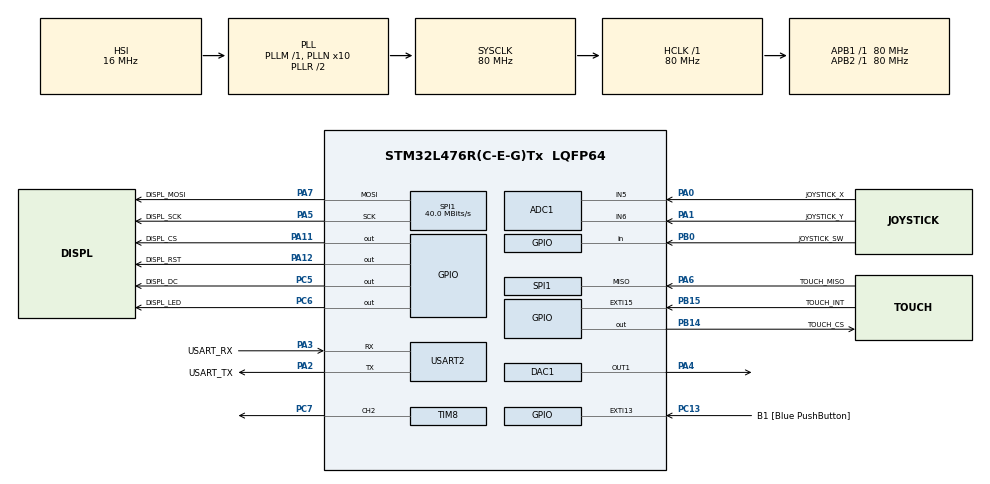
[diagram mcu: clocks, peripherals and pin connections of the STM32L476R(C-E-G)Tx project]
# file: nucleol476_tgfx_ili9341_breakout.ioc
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ADC1.Channel-4\#ChannelRegularConversion=ADC_CHANNEL_5
ADC1.Channel-5\#ChannelRegularConversion=ADC_CHANNEL_6
ADC1.ContinuousConvMode=DISABLE
ADC1.DMAContinuousRequests=DISABLE
ADC1.EOCSelection=ADC_EOC_SINGLE_CONV
ADC1.NbrOfConversion=2
ADC1.NbrOfConversionFlag=1
ADC1.OffsetNumber-4\#ChannelRegularConversion=ADC_OFFSET_NONE
ADC1.OffsetNumber-5\#ChannelRegularConversion=ADC_OFFSET_NONE
ADC1.Rank-4\#ChannelRegularConversion=1
ADC1.Rank-5\#ChannelRegularConversion=2
ADC1.SamplingTime-4\#ChannelRegularConversion=ADC_SAMPLETIME_640CYCLES_5
ADC1.SamplingTime-5\#ChannelRegularConversion=ADC_SAMPLETIME_640CYCLES_5
ADC1.master=1
DAC1.DAC_Trigger-DAC_OUT1=DAC_TRIGGER_SOFTWARE
DAC1.WaveGeneration-DAC_OUT1=TriangleWaveGeneration
Dma.ADC1.1.Direction=DMA_PERIPH_TO_MEMORY
Dma.ADC1.1.Instance=DMA1_Channel1
Dma.ADC1.1.MemDataAlignment=DMA_MDATAALIGN_WORD
Dma.ADC1.1.MemInc=DMA_MINC_ENABLE
Dma.ADC1.1.Mode=DMA_NORMAL
Dma.ADC1.1.PeriphDataAlignment=DMA_PDATAALIGN_WORD
Dma.ADC1.1.PeriphInc=DMA_PINC_DISABLE
Dma.ADC1.1.Priority=DMA_PRIORITY_LOW
Dma.Request0=SPI1_TX
Dma.Request1=ADC1
Dma.SPI1_TX.0.Direction=DMA_MEMORY_TO_PERIPH
Dma.SPI1_TX.0.Instance=DMA1_Channel3
Dma.SPI1_TX.0.MemDataAlignment=DMA_MDATAALIGN_BYTE
Dma.SPI1_TX.0.MemInc=DMA_MINC_ENABLE
Dma.SPI1_TX.0.Mode=DMA_NORMAL
Dma.SPI1_TX.0.PeriphDataAlignment=DMA_PDATAALIGN_BYTE
Dma.SPI1_TX.0.PeriphInc=DMA_PINC_DISABLE
Dma.SPI1_TX.0.Priority=DMA_PRIORITY_MEDIUM
Mcu.Family=STM32L4
Mcu.Name=STM32L476R(C-E-G)Tx
Mcu.Package=LQFP64
NVIC.ADC1_2_IRQn=true\:0\:0\:false\:false\:true\:true\:true\:true
NVIC.DMA1_Channel1_IRQn=true\:0\:0\:false\:false\:true\:false\:true\:true
NVIC.DMA1_Channel3_IRQn=true\:0\:0\:false\:false\:true\:false\:true\:true
NVIC.EXTI15_10_IRQn=true\:0\:0\:false\:false\:true\:true\:true\:true
NVIC.PriorityGroup=NVIC_PRIORITYGROUP_4
NVIC.SPI1_IRQn=true\:0\:0\:false\:false\:true\:true\:true\:true
NVIC.TIM3_IRQn=true\:0\:0\:false\:false\:true\:true\:true\:true
PA0.GPIO_Label=JOYSTICK_X
PA0.Signal=ADCx_IN5
PA1.GPIO_Label=JOYSTICK_Y
PA1.Signal=ADCx_IN6
PA11.GPIO_Label=DISPL_CS
PA11.Signal=GPIO_Output
PA12.GPIO_Label=DISPL_RST
PA12.Signal=GPIO_Output
PA13\ (JTMS-SWDIO).GPIO_Label=TMS
PA13\ (JTMS-SWDIO).Mode=Trace_Asynchronous_SW
PA13\ (JTMS-SWDIO).Signal=SYS_JTMS-SWDIO
PA14\ (JTCK-SWCLK).GPIO_Label=TCK
PA14\ (JTCK-SWCLK).Mode=Trace_Asynchronous_SW
PA14\ (JTCK-SWCLK).Signal=SYS_JTCK-SWCLK
PA2.GPIO_Label=USART_TX
PA2.GPIO_Mode=GPIO_MODE_AF_PP
PA2.GPIO_PuPd=GPIO_NOPULL
PA2.GPIO_Speed=GPIO_SPEED_FREQ_VERY_HIGH
PA2.Mode=Asynchronous
PA2.Signal=USART2_TX
PA3.GPIO_Label=USART_RX
PA3.GPIO_Mode=GPIO_MODE_AF_PP
PA3.GPIO_PuPd=GPIO_NOPULL
PA3.GPIO_Speed=GPIO_SPEED_FREQ_VERY_HIGH
PA3.Mode=Asynchronous
PA3.Signal=USART2_RX
PA4.Signal=COMP_DAC11_group
PA5.GPIO_Label=DISPL_SCK
PA5.Mode=Full_Duplex_Master
PA5.Signal=SPI1_SCK
PA6.GPIO_Label=TOUCH_MISO
PA6.Mode=Full_Duplex_Master
PA6.Signal=SPI1_MISO
PA7.GPIO_Label=DISPL_MOSI
PA7.Mode=Full_Duplex_Master
PA7.Signal=SPI1_MOSI
PB0.GPIO_Label=JOYSTICK_SW
PB0.GPIO_PuPd=GPIO_PULLUP
PB0.Signal=GPIO_Input
PB14.GPIO_Label=TOUCH_CS
PB14.Signal=GPIO_Output
PB15.GPIO_Label=TOUCH_INT
PB15.GPIO_ModeDefaultEXTI=GPIO_MODE_IT_FALLING
PB15.GPIO_PuPd=GPIO_PULLUP
PB15.Signal=GPXTI15
PB3\ (JTDO-TRACESWO).GPIO_Label=SWO
PB3\ (JTDO-TRACESWO).Mode=Trace_Asynchronous_SW
PB3\ (JTDO-TRACESWO).Signal=SYS_JTDO-SWO
PC13.GPIO_Label=B1 [Blue PushButton]
PC13.GPIO_ModeDefaultEXTI=GPIO_MODE_IT_FALLING
PC13.GPIO_PuPd=GPIO_NOPULL
PC13.Signal=GPXTI13
PC14-OSC32_IN\ (PC14).Mode=LSE-External-Oscillator
PC14-OSC32_IN\ (PC14).Signal=RCC_OSC32_IN
PC15-OSC32_OUT\ (PC15).Mode=LSE-External-Oscillator
PC15-OSC32_OUT\ (PC15).Signal=RCC_OSC32_OUT
PC5.GPIO_Label=DISPL_DC
PC5.Signal=GPIO_Output
PC6.GPIO_Label=DISPL_LED
PC6.GPIO_ModeDefaultOutputPP=GPIO_MODE_OUTPUT_OD
PC6.GPIO_PuPd=GPIO_NOPULL
PC6.Signal=GPIO_Output
PC7.Signal=S_TIM8_CH2
PH0-OSC_IN\ (PH0).Signal=RCC_OSC_IN
PH1-OSC_OUT\ (PH1).Signal=RCC_OSC_OUT
ProjectManager.HeapSize=0x200
ProjectManager.StackSize=0x400
ProjectManager.TargetToolchain=STM32CubeIDE
RCC.ADCFreq_Value=64000000
RCC.AHBFreq_Value=80000000
RCC.APB1Freq_Value=80000000
RCC.APB1TimFreq_Value=80000000
RCC.APB2Freq_Value=80000000
RCC.APB2TimFreq_Value=80000000
RCC.CortexFreq_Value=80000000
RCC.HCLKFreq_Value=80000000
RCC.HSE_VALUE=8000000
RCC.HSI_VALUE=16000000
RCC.MSI_VALUE=4000000
RCC.PLLN=10
RCC.PLLSourceVirtual=RCC_PLLSOURCE_HSI
RCC.PREFETCH_ENABLE=1
RCC.SYSCLKFreq_VALUE=80000000
RCC.SYSCLKSource=RCC_SYSCLKSOURCE_PLLCLK
RCC.USBFreq_Value=64000000
RCC.VCOOutputFreq_Value=160000000
SH.ADCx_IN5.0=ADC1_IN5,IN5-Single-Ended
SH.ADCx_IN6.0=ADC1_IN6,IN6-Single-Ended
SH.COMP_DAC11_group.0=DAC1_OUT1,DAC_OUT1
SH.S_TIM8_CH2.0=TIM8_CH2,PWM Generation2 CH2
SPI1.BaudRatePrescaler=SPI_BAUDRATEPRESCALER_2
SPI1.CalculateBaudRate=40.0 MBits/s
SPI1.DataSize=SPI_DATASIZE_8BIT
SPI1.Direction=SPI_DIRECTION_2LINES
SPI1.Mode=SPI_MODE_MASTER
SPI1.VirtualType=VM_MASTER
STMicroelectronics.X-CUBE-TOUCHGFX.4.26.0.ApplicationCcGraphicsJjApplication=TouchGFXOoGenerator
STMicroelectronics.X-CUBE-TOUCHGFX.4.26.0.tgfx_block_size=1920
STMicroelectronics.X-CUBE-TOUCHGFX.4.26.0.tgfx_buffering_strategy=Partial
STMicroelectronics.X-CUBE-TOUCHGFX.4.26.0.tgfx_custom_height=240
STMicroelectronics.X-CUBE-TOUCHGFX.4.26.0.tgfx_custom_width=320
STMicroelectronics.X-CUBE-TOUCHGFX.4.26.0.tgfx_nema_cl_size=8192
STMicroelectronics.X-CUBE-TOUCHGFX.4.26.0_IsPackSelfContextualization=true
TIM1.AutoReloadPreload=TIM_AUTORELOAD_PRELOAD_ENABLE
TIM1.Period=100-1
TIM1.Prescaler=9000-1
TIM3.AutoReloadPreload=TIM_AUTORELOAD_PRELOAD_DISABLE
TIM3.Period=60
TIM3.Prescaler=8000-1
TIM8.AutoReloadPreload=TIM_AUTORELOAD_PRELOAD_ENABLE
TIM8.Channel-PWM\ Generation2\ CH2=TIM_CHANNEL_2
TIM8.Period=100-1
TIM8.Prescaler=900-1
TIM8.Pulse-PWM\ Generation2\ CH2=50-1
USART2.VirtualMode-Asynchronous=VM_ASYNC
VP_CRC_VS_CRC.Mode=CRC_Activate
VP_RTC_VS_RTC_Activate.Mode=RTC_Enabled
VP_STMicroelectronics.X-CUBE-TOUCHGFX_VS_GraphicsJjApplication_4.26.0.Mode=GraphicsJjApplication
VP_TIM1_VS_ClockSourceINT.Mode=Internal
VP_TIM3_VS_ClockSourceINT.Mode=Internal
VP_TIM8_VS_ClockSourceINT.Mode=Internal
board=NUCLEO-L476RG

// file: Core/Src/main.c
/* USER CODE BEGIN Header */
/**
  ******************************************************************************
  * @file           : main.c
  * @brief          : Main program body
  ******************************************************************************
  * @attention
  *
  * Copyright (c) 2023 STMicroelectronics.
  * All rights reserved.
  *
  * This software is licensed under terms that can be found in the LICENSE file
  * in the root directory of this software component.
  * If no LICENSE file comes with this software, it is provided AS-IS.
  *
  ******************************************************************************
  */
/* USER CODE END Header */
#include "main.h"
#include "adc.h"
#include "crc.h"
#include "dac.h"
#include "dma.h"
#include "rtc.h"
#include "spi.h"
#include "tim.h"
#include "usart.h"
#include "gpio.h"
#include "app_touchgfx.h"

/* USER CODE BEGIN Includes */
#include "custom.h"
#include "leaderboard.h"
/* USER CODE END Includes */

/* USER CODE BEGIN PTD */
extern TIM_HandleTypeDef htim8;
/* USER CODE END PTD */

/* USER CODE BEGIN PV */
uint32_t adcData[2]; //up y 0, right x 0

Position joystickPosition;

//__attribute__((section(".RAM2"))) uint8_t foos[40];
/* USER CODE END PV */

void SystemClock_Config(void);

/* USER CODE BEGIN 0 */

int converted_val;

long map(long x, long in_min, long in_max, long out_min, long out_max)
{
  return (x - in_min) * (out_max - out_min + 1) / (in_max - in_min + 1) + out_min;
}
/* USER CODE END 0 */

int main(void)
{

  /* MCU Configuration--------------------------------------------------------*/

  /* Reset of all peripherals, Initializes the Flash interface and the Systick. */
  HAL_Init();

  /* Configure the system clock */
  SystemClock_Config();

  /* Initialize all configured peripherals */
  MX_GPIO_Init();
  MX_DMA_Init();
  MX_USART2_UART_Init();
  MX_SPI1_Init();
  MX_CRC_Init();
  MX_TIM3_Init();
  MX_ADC1_Init();
  MX_RTC_Init();
  MX_DAC1_Init();
  MX_TIM1_Init();
  MX_TIM8_Init();
  MX_TouchGFX_Init();
  /* USER CODE BEGIN 2 */
  HAL_TIM_Base_Start_IT(&htim3);			//start tim3 for updating display refresh

  Displ_Init(Displ_Orientat_90);			// (mandatory) initialize display controller - set orientation parameter as per TouchGFX setup
  touchgfxSignalVSync();					// ask display syncronization
  Displ_BackLight('I');  					// (mandatory) initialize backlight

  initScores();

  /* USER CODE END 2 */

  /* Infinite loop */
  while (1)
  {

  MX_TouchGFX_Process();
  }
}

void SystemClock_Config(void)
{
  RCC_OscInitTypeDef RCC_OscInitStruct = {0};
  RCC_ClkInitTypeDef RCC_ClkInitStruct = {0};

  /** Configure the main internal regulator output voltage
  */
  if (HAL_PWREx_ControlVoltageScaling(PWR_REGULATOR_VOLTAGE_SCALE1) != HAL_OK)
  {
    Error_Handler();
  }

  /** Initializes the RCC Oscillators according to the specified parameters
  * in the RCC_OscInitTypeDef structure.
  */
  RCC_OscInitStruct.OscillatorType = RCC_OSCILLATORTYPE_HSI|RCC_OSCILLATORTYPE_LSI;
  RCC_OscInitStruct.HSIState = RCC_HSI_ON;
  RCC_OscInitStruct.HSICalibrationValue = RCC_HSICALIBRATION_DEFAULT;
  RCC_OscInitStruct.LSIState = RCC_LSI_ON;
  RCC_OscInitStruct.PLL.PLLState = RCC_PLL_ON;
  RCC_OscInitStruct.PLL.PLLSource = RCC_PLLSOURCE_HSI;
  RCC_OscInitStruct.PLL.PLLM = 1;
  RCC_OscInitStruct.PLL.PLLN = 10;
  RCC_OscInitStruct.PLL.PLLP = RCC_PLLP_DIV7;
  RCC_OscInitStruct.PLL.PLLQ = RCC_PLLQ_DIV2;
  RCC_OscInitStruct.PLL.PLLR = RCC_PLLR_DIV2;
  if (HAL_RCC_OscConfig(&RCC_OscInitStruct) != HAL_OK)
  {
    Error_Handler();
  }

  /** Initializes the CPU, AHB and APB buses clocks
  */
  RCC_ClkInitStruct.ClockType = RCC_CLOCKTYPE_HCLK|RCC_CLOCKTYPE_SYSCLK
                              |RCC_CLOCKTYPE_PCLK1|RCC_CLOCKTYPE_PCLK2;
  RCC_ClkInitStruct.SYSCLKSource = RCC_SYSCLKSOURCE_PLLCLK;
  RCC_ClkInitStruct.AHBCLKDivider = RCC_SYSCLK_DIV1;
  RCC_ClkInitStruct.APB1CLKDivider = RCC_HCLK_DIV1;
  RCC_ClkInitStruct.APB2CLKDivider = RCC_HCLK_DIV1;

  if (HAL_RCC_ClockConfig(&RCC_ClkInitStruct, FLASH_LATENCY_4) != HAL_OK)
  {
    Error_Handler();
  }
}

/* USER CODE BEGIN 4 */
//void HAL_ADC_ConvCpltCallback(ADC_HandleTypeDef *hadc)
//{
//	static int index = 0;
//
//	adcData[index] = HAL_ADC_GetValue(hadc);
//
//	index++;
//	index%=2;
//}

void HAL_TIM_PeriodElapsedCallback(TIM_HandleTypeDef *htim)
{
	 HAL_ADC_Start_DMA(&hadc1, adcData, 2);

	 joystickPosition.x = map(adcData[0], 0, 4095, 0, 100);
	 joystickPosition.y = map(adcData[1], 0, 4095, 0, 100);

	 touchgfxSignalVSync();
}
/* USER CODE END 4 */

void Error_Handler(void)
{
  __disable_irq();
  while (1)
  {
  }
}
